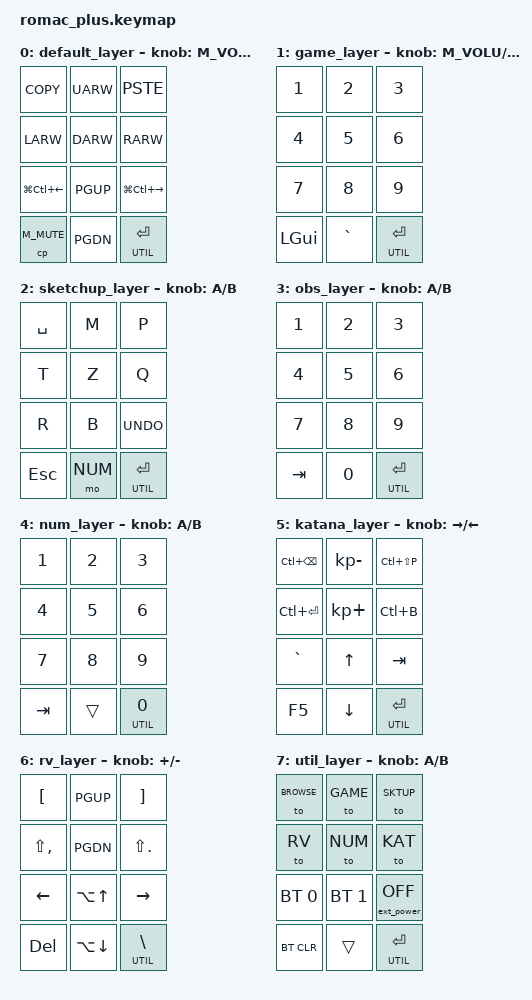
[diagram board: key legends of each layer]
/*
 * Copyright (c) 2020 The ZMK Contributors
 *
 * SPDX-License-Identifier: MIT
 */

#include <behaviors.dtsi>
#include <dt-bindings/zmk/bt.h>
#include <dt-bindings/zmk/keys.h>
#include <dt-bindings/zmk/ext_power.h>

#define BROWSE  0
#define GAME     1
#define SKTUP    2
#define OBS   3
#define NUM     4
#define KAT    5
#define RV 6
#define UTIL 7

/ {
    keymap {
        compatible = "zmk,keymap";
        
        default_layer {
// --------------------------
// | COPY   |   UP   |  PASTE |
// | LEFT   |  DOWN  |  RIGHT |
// | WSL    |  PGUP  |  WSR   |
// | MUTE   |  PGDN  |  ENT/UT|
// --------------------------
            bindings = <
    &kp COPY   &kp UARW &kp PSTE
    &kp LARW   &kp DARW &kp RARW 
    &kp LG(LC(LEFT))   &kp PGUP &kp LG(LC(RIGHT)) 
    &cp M_MUTE &kp PGDN &lt UTIL RET 
            >;

            sensor-bindings = <&inc_dec_cp M_VOLD M_VOLU>;
        };
         game_layer {
// --------------------------
// | 1   |  2   |  3 |
// | 4   |  5   |  6 |
// | 7   |  8   |  9 |
// | GUI |  GRV |  _ |
// --------------------------
             bindings = <
     &kp NUM_1 &kp NUM_2 &kp NUM_3
     &kp NUM_4 &kp NUM_5 &kp NUM_6
     &kp NUM_7 &kp NUM_8 &kp NUM_9
     &kp LGUI  &kp GRAV  &lt UTIL RET
             >;

            sensor-bindings = <&inc_dec_cp M_VOLU M_VOLD>;
         };
         sketchup_layer {
// --------------------------
// | SPACE |  M   |  P    |
// | T     |  Z   |  Q    |
// | R     |  B   |  UNDO |
// | ESC   |  NUM |  _    |
// --------------------------
             bindings = <
     &kp SPC &kp M   &kp P
     &kp T   &kp Z   &kp Q
     &kp R   &kp B   &kp UNDO
     &kp ESC &mo NUM &lt UTIL RET
             >;

             sensor-bindings = <&inc_dec_kp A B>;
         };
         obs_layer {
// --------------------------
// | BROWSE |  GAME |  SKTUP |
// | GAME   |  OBS  |  NUM   |
// | BT_1   |  BT_2 |  _     |
// | BTCLR  |  _    |  _     |
// --------------------------
             bindings = <
     &kp NUM_1 &kp NUM_2 &kp NUM_3
     &kp NUM_4 &kp NUM_5 &kp NUM_6
     &kp NUM_7 &kp NUM_8 &kp NUM_9
     &kp TAB   &kp NUM_0   &lt UTIL RET
             >;

             sensor-bindings = <&inc_dec_kp A B>;
         };
         num_layer {
// --------------------------
// | 1   |  2   |  3 |
// | 4   |  5   |  6 |
// | 7   |  8   |  9 |
// | TAB |  _   |  0 |
// --------------------------
             bindings = <
     &kp N1 &kp N2 &kp N3
     &kp N4 &kp N5 &kp N6
     &kp N7 &kp N8 &kp N9
     &kp TAB   &trans   &lt UTIL N0
             >;

             sensor-bindings = <&inc_dec_kp A B>;
         };
         katana_layer {
// ----------------------------
// | OUT  |  MINS | LRENDER |
// | IN   |  PLUS | CTL B   |
// | GRVE |  UP   | TAB     |
// | F5   |  DOWN |   _     |
// --------------------------
             bindings = <
     &kp LC(BSPC) &kp KP_MINUS &kp LC(LS(P))
     &kp LC(RET)  &kp KP_PLUS  &kp LC(B)
     &kp GRAVE    &kp UP       &kp TAB
     &kp F5       &kp DOWN     &lt UTIL RET
             >;

             sensor-bindings = <&inc_dec_kp RIGHT LEFT>;
         };
         rv_layer {
// ----------------------------
// | [      |  PGUP  |       ] |
// | CMP LT |  PGDN  | CMP RGT |
// | LEFT   |  ALT U | RIGHT   |
// | DEL    |  ALT D |   \     |
// --------------------------
             bindings = <
     &kp LBKT      &kp PGUP     &kp RBKT
     &kp LS(COMMA) &kp PGDN     &kp LS(DOT)
     &kp LEFT      &kp LA(UP)   &kp RIGHT
     &kp DEL       &kp LA(DOWN) &lt UTIL BSLH
             >;

             sensor-bindings = <&inc_dec_kp PLUS MINUS>;
         };
         util_layer {
// --------------------------
// | BROWSE |  GAME |  SKTUP |
// | RV     |  NUM  |  KAT   |
// | BT_1   |  BT_2 |  EPTOG |
// | BTCLR  |  _    |  _     |
// --------------------------
             bindings = <
     &to BROWSE  &to GAME    &to SKTUP 
     &to RV     &to NUM     &to KAT
     &bt BT_SEL 0 &bt BT_SEL 1 &ext_power EP_OFF
     &bt BT_CLR   &trans       &lt UTIL RET
             >;

             sensor-bindings = <&inc_dec_kp A B>;
         };
    };
};
